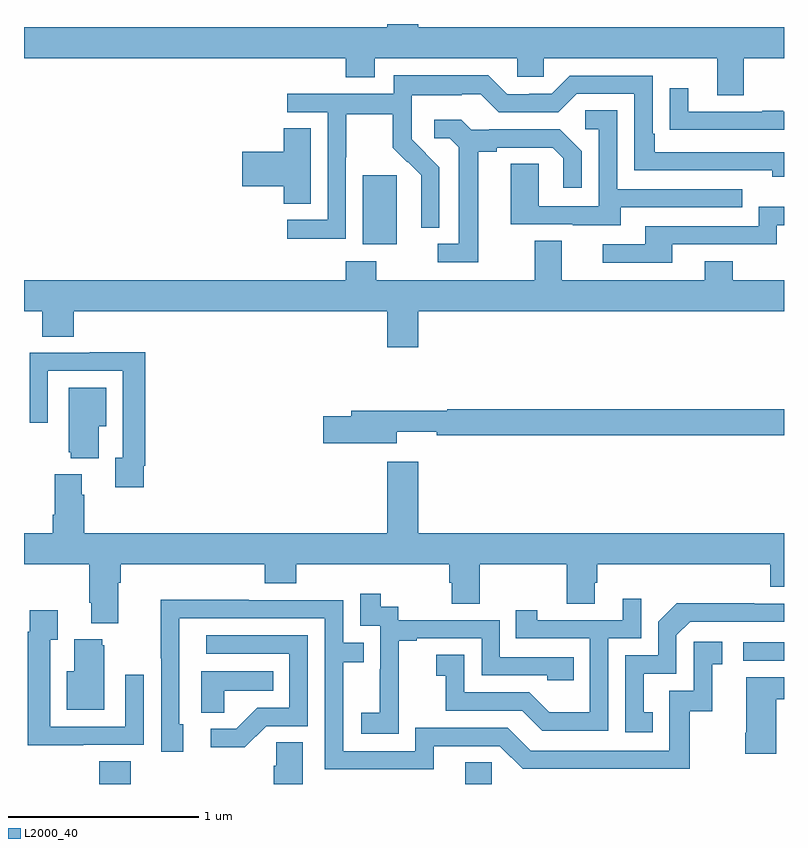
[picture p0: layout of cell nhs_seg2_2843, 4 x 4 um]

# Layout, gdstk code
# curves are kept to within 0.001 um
import gdstk
lib = gdstk.Library(unit=1e-6, precision=1e-09)
def R(c, l, rs):  # rectangles x0, y0, x1, y1
    for r in rs: c.add(gdstk.rectangle(r[:2], r[2:], *l))
def P(c, l, *ps):  # polygons
    for p in ps: c.add(gdstk.Polygon(p, *l))
L2000_40 = (2000, 40)

nhs_seg2_2843 = lib.new_cell('nhs_seg2_2843')
R(nhs_seg2_2843, L2000_40, [(259.397,659.8,259.562,659.921), (261.323,659.8,261.462,659.915), (262.785,660.45,263,660.546), (260.783,662.642,260.962,663.003)])
P(nhs_seg2_2843, L2000_40, [(262.789,663.62),(263,663.62),(263,663.784),(261.076,663.784),(261.076,663.8),(260.912,663.8),(260.912,663.784),(259,663.784),(259,663.62),(260.693,663.62),(260.693,663.521),(260.845,663.521),(260.845,663.62),(261.597,663.62),(261.597,663.522),(261.735,663.522),(261.735,663.62),(262.649,663.62),(262.649,663.426),(262.789,663.426)],
  [(260.694,663.1),(260.697,663.1),(260.697,663.324),(260.941,663.324),(260.941,663.149),(261.018,663.072),(261.021,663.075),(261.092,663.005),(261.092,662.882),(261.09,662.882),(261.09,662.728),(261.186,662.728),(261.186,663.046),(261.04,663.194),(261.04,663.291),(261.042,663.291),(261.042,663.425),(261.305,663.425),(261.305,663.429),(261.405,663.429),(261.498,663.336),(261.813,663.336),(261.909,663.432),(262.212,663.432),(262.212,663.03),(262.937,663.03),(262.937,662.996),(263,662.996),(263,663.126),(262.321,663.126),(262.321,663.223),(262.308,663.223),(262.308,663.528),(261.873,663.528),(261.777,663.432),(261.659,663.432),(261.659,663.429),(261.543,663.429),(261.443,663.529),(260.946,663.529),(260.946,663.432),(260.385,663.432),(260.385,663.336),(260.598,663.336),(260.598,662.769),(260.385,662.769),(260.385,662.671),(260.694,662.671)],
  [(263,663.339),(262.997,663.339),(262.997,663.344),(262.885,663.344),(262.885,663.339),(262.495,663.339),(262.495,663.463),(262.399,663.463),(262.399,663.244),(262.501,663.244),(262.501,663.243),(263,663.243)],
  [(262.141,662.835),(262.781,662.835),(262.781,662.931),(262.122,662.931),(262.122,663.347),(261.954,663.347),(261.954,663.246),(262.026,663.246),(262.026,662.841),(261.708,662.841),(261.708,663.065),(261.563,663.065),(261.563,662.745),(261.887,662.745),(261.887,662.741),(262.141,662.741)],
  [(261.391,663.128),(261.487,663.128),(261.487,663.15),(261.782,663.15),(261.839,663.093),(261.839,662.937),(261.936,662.937),(261.936,663.13),(261.82,663.246),(261.448,663.246),(261.448,663.243),(261.354,663.243),(261.302,663.295),(261.159,663.295),(261.159,663.198),(261.24,663.198),(261.287,663.151),(261.287,662.643),(261.177,662.643),(261.177,662.547),(261.391,662.547)],
  [(260.509,663.251),(260.366,663.251),(260.366,663.128),(260.148,663.128),(260.148,662.945),(260.366,662.945),(260.366,662.854),(260.509,662.854)],
  [(262.411,662.64),(262.962,662.64),(262.962,662.742),(263,662.742),(263,662.839),(262.866,662.839),(262.866,662.736),(262.271,662.736),(262.271,662.64),(262.047,662.64),(262.047,662.544),(262.411,662.544)],
  [(261.076,662.288),(263,662.288),(263,662.452),(262.731,662.452),(262.731,662.551),(262.583,662.551),(262.583,662.452),(261.829,662.452),(261.829,662.66),(261.689,662.66),(261.689,662.452),(260.853,662.452),(260.853,662.551),(260.693,662.551),(260.693,662.452),(259,662.452),(259,662.288),(259.097,662.288),(259.097,662.155),(259.262,662.155),(259.262,662.288),(260.912,662.288),(260.912,662.1),(261.076,662.1)],
  [(259.63,661.474),(259.637,661.474),(259.637,662.072),(259.345,662.072),(259.345,662.07),(259.029,662.07),(259.029,661.701),(259.125,661.701),(259.125,661.974),(259.521,661.974),(259.521,661.518),(259.481,661.518),(259.481,661.362),(259.63,661.362)],
  [(259.393,661.682),(259.432,661.682),(259.432,661.885),(259.235,661.885),(259.235,661.545),(259.247,661.545),(259.247,661.514),(259.393,661.514)],
  [(260.962,661.655),(261.172,661.655),(261.172,661.636),(263,661.636),(263,661.772),(261.227,661.772),(261.227,661.765),(260.723,661.765),(260.723,661.736),(260.574,661.736),(260.574,661.594),(260.962,661.594)],
  [(259.495,660.86),(259.508,660.86),(259.508,660.956),(260.267,660.956),(260.267,660.857),(260.432,660.857),(260.432,660.956),(261.239,660.956),(261.239,660.858),(261.251,660.858),(261.251,660.748),(261.399,660.748),(261.399,660.956),(261.856,660.956),(261.856,660.748),(262.003,660.748),(262.003,660.858),(262.016,660.858),(262.016,660.956),(262.928,660.956),(262.928,660.839),(263,660.839),(263,661.12),(261.076,661.12),(261.076,661.495),(260.912,661.495),(260.912,661.12),(259.316,661.12),(259.316,661.322),(259.303,661.322),(259.303,661.429),(259.163,661.429),(259.163,661.216),(259.151,661.216),(259.151,661.12),(259,661.12),(259,660.956),(259.343,660.956),(259.343,660.754),(259.355,660.754),(259.355,660.647),(259.495,660.647)],
  [(260.973,660.271),(260.972,660.271),(260.972,660.555),(261.067,660.555),(261.067,660.567),(261.408,660.567),(261.408,660.372),(261.753,660.372),(261.753,660.345),(261.893,660.345),(261.893,660.468),(261.504,660.468),(261.504,660.663),(260.97,660.663),(260.97,660.732),(260.878,660.732),(260.878,660.802),(260.769,660.802),(260.769,660.633),(260.874,660.633),(260.874,660.404),(260.873,660.404),(260.873,660.175),(260.775,660.175),(260.775,660.065),(260.973,660.065)],
  [(262.074,660.567),(262.248,660.567),(262.248,660.775),(262.151,660.775),(262.151,660.663),(261.7,660.663),(261.7,660.715),(261.589,660.715),(261.589,660.567),(261.978,660.567),(261.978,660.178),(261.764,660.178),(261.66,660.282),(261.318,660.282),(261.318,660.481),(261.171,660.481),(261.171,660.371),(261.22,660.371),(261.22,660.186),(261.623,660.186),(261.728,660.081),(262.074,660.081)],
  [(261.157,660),(261.504,660),(261.624,659.88),(262.504,659.88),(262.504,660.183),(262.622,660.183),(262.622,660.429),(262.675,660.429),(262.675,660.55),(262.524,660.55),(262.524,660.291),(262.395,660.291),(262.395,659.976),(261.666,659.976),(261.546,660.096),(261.06,660.096),(261.06,659.973),(260.679,659.973),(260.679,660.442),(260.789,660.442),(260.789,660.543),(260.679,660.543),(260.679,660.768),(260.183,660.768),(260.183,660.77),(259.72,660.77),(259.72,660.463),(259.722,660.463),(259.722,659.97),(259.837,659.97),(259.837,660.114),(259.818,660.114),(259.818,660.672),(260.583,660.672),(260.583,659.877),(261.157,659.877)],
  [(262.31,660.177),(262.261,660.177),(262.261,660.381),(262.434,660.381),(262.434,660.582),(262.506,660.654),(263,660.654),(263,660.75),(262.844,660.75),(262.844,660.752),(262.436,660.752),(262.338,660.654),(262.338,660.477),(262.164,660.477),(262.164,660.072),(262.31,660.072)],
  [(259.313,660.006),(259.629,660.006),(259.629,660.376),(259.533,660.376),(259.533,660.102),(259.137,660.102),(259.137,660.559),(259.177,660.559),(259.177,660.715),(259.029,660.715),(259.029,660.602),(259.021,660.602),(259.021,660.005),(259.313,660.005)],
  [(260.274,660.105),(260.493,660.105),(260.493,660.582),(259.959,660.582),(259.959,660.486),(260.397,660.486),(260.397,660.201),(260.228,660.201),(260.117,660.09),(259.983,660.09),(259.983,659.993),(260.161,659.993)],
  [(259.423,660.531),(259.412,660.531),(259.412,660.562),(259.265,660.562),(259.265,660.394),(259.226,660.394),(259.226,660.191),(259.423,660.191)],
  [(260.055,660.29),(260.312,660.29),(260.312,660.394),(259.934,660.394),(259.934,660.175),(260.055,660.175)],
  [(262.96,660.247),(263,660.247),(263,660.361),(262.802,660.361),(262.802,660.07),(262.795,660.07),(262.795,659.958),(262.96,659.958)],
  [(260.467,660.02),(260.328,660.02),(260.328,659.897),(260.315,659.897),(260.315,659.8),(260.467,659.8)])

lib.write_gds('nhs_seg2_2843.gds')
